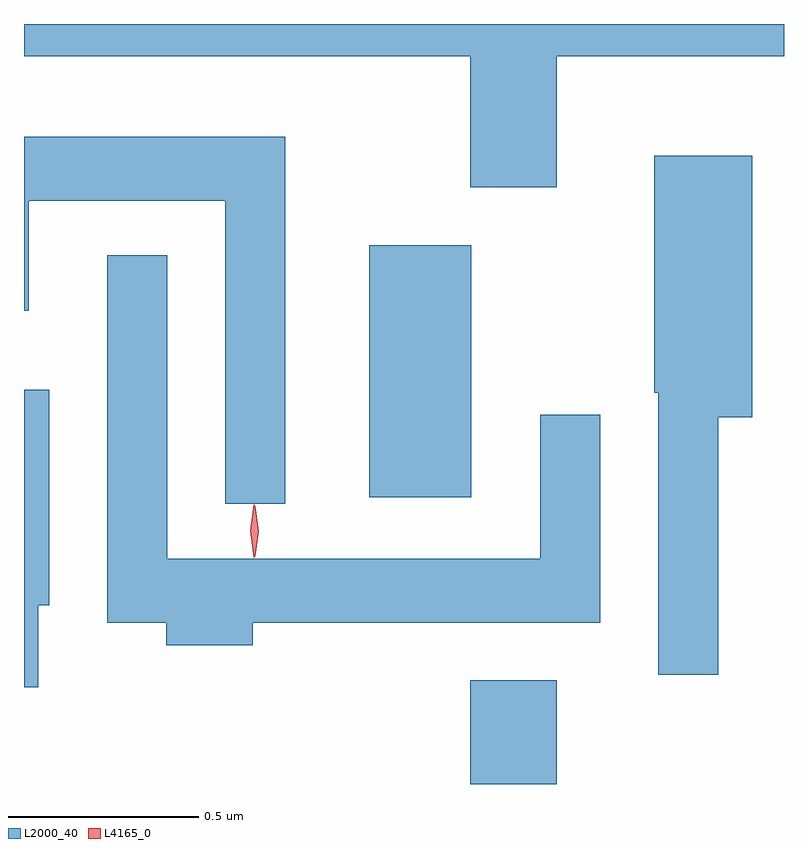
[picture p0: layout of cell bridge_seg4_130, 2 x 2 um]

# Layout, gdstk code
import gdstk
lib = gdstk.Library(unit=1e-6, precision=1e-09)
def R(c, l, rs):  # rectangles x0, y0, x1, y1
    for r in rs: c.add(gdstk.rectangle(r[:2], r[2:], *l))
def P(c, l, *ps):  # polygons
    for p in ps: c.add(gdstk.Polygon(p, *l))
L2000_40 = (2000, 40)
L4165_0 = (4165, 0)

bridge_seg4_130 = lib.new_cell('bridge_seg4_130')
R(bridge_seg4_130, L2000_40, [(878.561,1312.801,878.789,1313.074), (878.296,1313.556,878.564,1314.219)])
P(bridge_seg4_130, L2000_40, [(878.789,1314.716),(879.387,1314.716),(879.387,1314.801),(877.387,1314.801),(877.387,1314.716),(878.561,1314.716),(878.561,1314.371),(878.789,1314.371)],
  [(878.074,1314.504),(877.387,1314.504),(877.387,1314.046),(877.399,1314.046),(877.399,1314.336),(877.916,1314.336),(877.916,1313.538),(878.074,1313.538)],
  [(879.214,1313.766),(879.304,1313.766),(879.304,1314.454),(879.046,1314.454),(879.046,1313.83),(879.056,1313.83),(879.056,1313.088),(879.214,1313.088)],
  [(877.989,1313.226),(878.904,1313.226),(878.904,1313.773),(878.746,1313.773),(878.746,1313.394),(877.764,1313.394),(877.764,1314.193),(877.606,1314.193),(877.606,1313.226),(877.761,1313.226),(877.761,1313.166),(877.989,1313.166)],
  [(877.424,1313.271),(877.454,1313.271),(877.454,1313.839),(877.387,1313.839),(877.387,1313.056),(877.424,1313.056)])
P(bridge_seg4_130, L4165_0, [(877.995,1313.399),(877.994,1313.4),(877.985,1313.466),(877.994,1313.532),(877.995,1313.533),(877.995,1313.532),(878.005,1313.466),(877.995,1313.4)],
  [(877.992,1313.397),(877.992,1313.398),(877.982,1313.467),(877.992,1313.536),(877.992,1313.536),(877.993,1313.536),(878.002,1313.467),(877.993,1313.398)])

lib.write_gds('bridge_seg4_130.gds')
